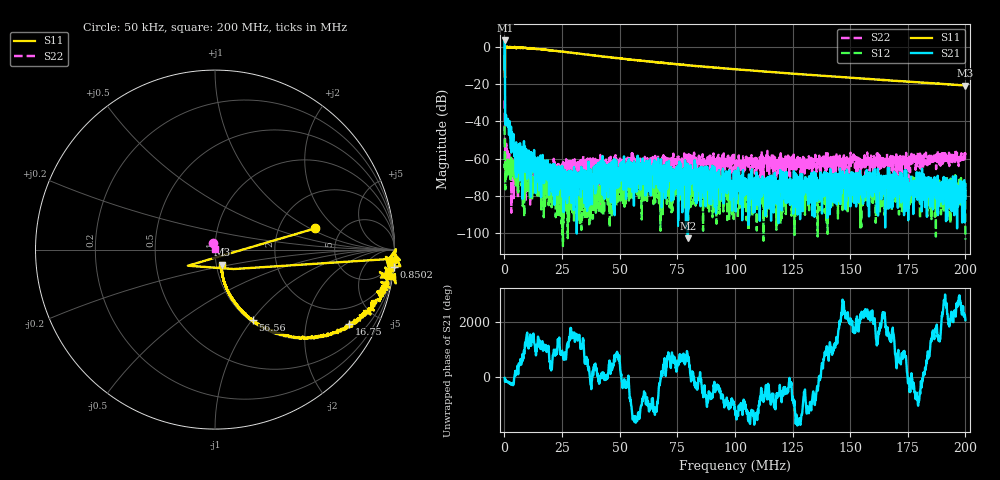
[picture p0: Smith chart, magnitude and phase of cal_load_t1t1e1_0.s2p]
! 26-Feb-26 1:31:48 PM
! E:\VNA_MEASUREMENTS\CAL_S11\CAL_LOAD_T1T1E1_0.S2P
! CHANNEL.1
! TR.MEASUREMENT
! CORRECTED.DATA
# GHZ S RI R 50.0
! FREQ.GHZ  S11RE  S11IM  S21RE  S21IM  S12RE  S12IM  S22RE  S22IM
!; PortSelection: Port_12
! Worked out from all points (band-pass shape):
!   2000 points, 50 kHz to 200 MHz, reference 50 ohm
!   highest |S21| = 3.60 dB at 150 kHz (marker M1); lowest = -102.8 dB at 79.57 MHz (marker M2)
!   |S21| within 3 dB of the highest: 130.6 kHz to 160 kHz (29.35 kHz wide, 20.2 % of centre)
!   lowest |S11| = -20.7 dB at 200 MHz (marker M3), VSWR 1.20, Z = 53.1 - j9.08 ohm
!   |S11| at or under -10 dB: 100.1 kHz to 289.2 kHz (189.1 kHz wide, 97.1 % of centre); 81.79 MHz to 82.32 MHz (534.4 kHz wide, 0.651 % of centre); 82.39 MHz to end of sweep
!   |S22| runs from -89.2 to -28.5 dB; largest |S21 - S12| = 1.5
!   S11 on the Smith chart (normalised r, x): 50 kHz: 3.23, +1.13; 850.2 kHz: 0, -21; 16.75 MHz: 1.16, -3.52; 56.56 MHz: 1.03, -1.01; 200 MHz: 1.06, -0.18
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5e-05  0.5586 0.1183  0.2263 -0.1183  0.000691 -0.00747  -0.0106 0.0359
0.000150025  -0.151 -0.0898  0.4566 -1.443  0.000224 -0.000514  -0.00274 -0.0054
0.0008502  0.9949 -0.096  -0.00972 -0.00651  -0.000284 -0.000121  -0.00182 -0.00166
0.0020505  1.011 -0.0559  -0.00963 0.00241  -9.93e-05 0.000394  0.00111 -0.000846
0.005151276  0.9185 -0.125  -0.000305 7.69e-05  -0.000431 -0.000452  0.000235 -9.03e-05
0.01675418  0.7465 -0.4127  -0.000421 -0.000828  -0.000118 -3.62e-05  0.000403 0.000292
0.02615653  0.558 -0.4825  0.000102 0.000111  0.00017 -3.46e-05  0.000511 0.000123
0.03345835  0.4366 -0.4854  0.000494 -9.8e-06  6.7e-06 4.81e-05  0.000472 0.000437
0.03585895  0.4057 -0.4784  -3.08e-05 2.41e-05  -1.83e-05 -1.96e-05  0.000668 0.00022
0.04066016  0.3466 -0.4677  0.000136 -0.000201  -0.00014 -4.18e-05  0.00056 -4.76e-05
0.05656413  0.2112 -0.3928  3.22e-05 -0.000286  7.24e-05 -0.000338  0.000677 0.000313
0.06676668  0.1625 -0.3558  9.46e-05 0.000134  5.75e-05 -6.64e-05  0.000281 0.000376
0.07956989  0.1147 -0.3029  5.2e-06 -5e-06  7.18e-05 -0.000195  0.000887 0.000589
0.08647161  0.0999 -0.281  0.000141 -0.000301  -0.000101 0.000126  0.000385 0.000516
0.100075  0.0778 -0.2437  -6.2e-05 -0.000116  0.00018 -5.36e-05  0.000624 0.000404
0.123981  0.0544 -0.188  0.000265 0.00013  5.31e-05 -6.47e-05  0.000396 0.000658
0.1333833  0.0486 -0.1708  -0.000115 0.000151  -7.55e-05 0.000219  0.000376 0.000389
0.1377844  0.046 -0.164  -3.11e-05 1.21e-05  0.000103 8.05e-05  0.000877 0.000439
0.1467867  0.0426 -0.1501  -0.000336 -0.000304  -2.12e-05 0.000108  0.000382 0.000747
0.1666917  0.0382 -0.1219  -0.00034 0.000263  -1.6e-06 -0.000123  0.000529 0.000611
0.180095  0.0372 -0.1061  7.23e-05 5.11e-05  4.21e-05 8.04e-05  0.00055 0.000206
0.2  0.0375 -0.0847  1.47e-05 -0.000201  -3.1e-06 -5.9e-06  0.000489 0.00107
